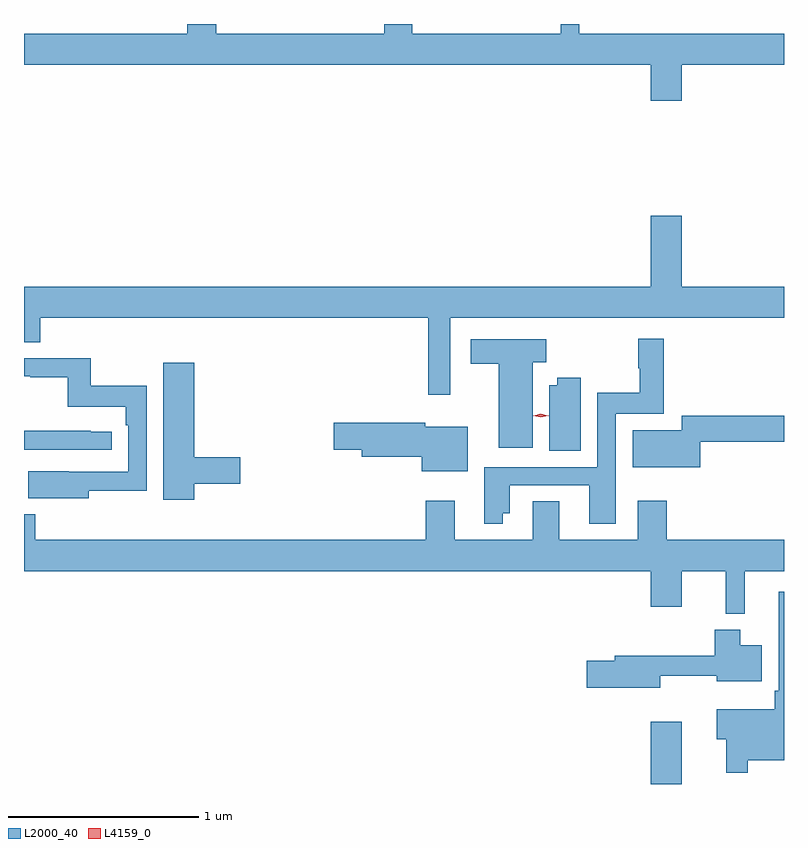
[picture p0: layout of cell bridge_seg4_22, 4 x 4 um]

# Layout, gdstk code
import gdstk
lib = gdstk.Library(unit=1e-6, precision=1e-09)
def R(c, l, rs):  # rectangles x0, y0, x1, y1
    for r in rs: c.add(gdstk.rectangle(r[:2], r[2:], *l))
def P(c, l, *ps):  # polygons
    for p in ps: c.add(gdstk.Polygon(p, *l))
L2000_40 = (2000, 40)
L4159_0 = (4159, 0)

bridge_seg4_22 = lib.new_cell('bridge_seg4_22')
R(bridge_seg4_22, L2000_40, [(1076.096,773.055,1076.26,773.383)])
P(bridge_seg4_22, L2000_40, [(1076.26,776.84),(1076.797,776.84),(1076.797,777.004),(1075.719,777.004),(1075.719,777.055),(1075.622,777.055),(1075.622,777.004),(1074.841,777.004),(1074.841,777.055),(1074.694,777.055),(1074.694,777.004),(1073.809,777.004),(1073.809,777.055),(1073.657,777.055),(1073.657,777.004),(1072.797,777.004),(1072.797,776.84),(1076.096,776.84),(1076.096,776.652),(1076.26,776.652)],
  [(1075.041,775.508),(1076.797,775.508),(1076.797,775.672),(1076.26,775.672),(1076.26,776.047),(1076.096,776.047),(1076.096,775.672),(1072.797,775.672),(1072.797,775.381),(1072.883,775.381),(1072.883,775.508),(1074.925,775.508),(1074.925,775.104),(1075.041,775.104)],
  [(1075.318,774.479),(1075.354,774.479),(1075.354,774.627),(1075.772,774.627),(1075.772,774.426),(1075.911,774.426),(1075.911,775.005),(1076.165,775.005),(1076.165,775.399),(1076.029,775.399),(1076.029,775.242),(1076.037,775.242),(1076.037,775.114),(1075.815,775.114),(1075.815,774.723),(1075.22,774.723),(1075.22,774.426),(1075.318,774.426)],
  [(1075.474,775.274),(1075.546,775.274),(1075.546,775.396),(1075.149,775.396),(1075.149,775.267),(1075.295,775.267),(1075.295,774.824),(1075.474,774.824)],
  [(1073.137,774.598),(1073.442,774.598),(1073.442,775.15),(1073.149,775.15),(1073.149,775.296),(1072.797,775.296),(1072.797,775.2),(1072.831,775.2),(1072.831,775.195),(1073.028,775.195),(1073.028,775.04),(1073.333,775.04),(1073.333,774.944),(1073.346,774.944),(1073.346,774.699),(1073.033,774.699),(1073.033,774.7),(1072.819,774.7),(1072.819,774.56),(1073.137,774.56)],
  [(1073.692,774.634),(1073.935,774.634),(1073.935,774.776),(1073.692,774.776),(1073.692,775.273),(1073.531,775.273),(1073.531,774.552),(1073.692,774.552)],
  [(1075.726,775.192),(1075.604,775.192),(1075.604,775.153),(1075.562,775.153),(1075.562,774.808),(1075.726,774.808)],
  [(1076.355,774.856),(1076.797,774.856),(1076.797,774.992),(1076.259,774.992),(1076.259,774.916),(1076,774.916),(1076,774.722),(1076.355,774.722)],
  [(1075.132,774.934),(1074.91,774.934),(1074.91,774.956),(1074.426,774.956),(1074.426,774.814),(1074.575,774.814),(1074.575,774.778),(1074.89,774.778),(1074.89,774.701),(1075.132,774.701)],
  [(1073.26,774.909),(1073.147,774.909),(1073.147,774.914),(1072.797,774.914),(1072.797,774.813),(1073.26,774.813)],
  [(1076.591,774.176),(1076.797,774.176),(1076.797,774.34),(1076.18,774.34),(1076.18,774.547),(1076.027,774.547),(1076.027,774.34),(1075.615,774.34),(1075.615,774.542),(1075.475,774.542),(1075.475,774.34),(1075.063,774.34),(1075.063,774.547),(1074.911,774.547),(1074.911,774.34),(1072.856,774.34),(1072.856,774.475),(1072.797,774.475),(1072.797,774.176),(1076.096,774.176),(1076.096,773.988),(1076.26,773.988),(1076.26,774.176),(1076.491,774.176),(1076.491,773.951),(1076.591,773.951)],
  [(1076.605,773.18),(1076.797,773.18),(1076.797,774.067),(1076.769,774.067),(1076.769,773.545),(1076.749,773.545),(1076.749,773.449),(1076.442,773.449),(1076.442,773.291),(1076.494,773.291),(1076.494,773.115),(1076.605,773.115)],
  [(1076.146,773.626),(1076.444,773.626),(1076.444,773.597),(1076.68,773.597),(1076.68,773.785),(1076.566,773.785),(1076.566,773.866),(1076.432,773.866),(1076.432,773.729),(1075.907,773.729),(1075.907,773.703),(1075.758,773.703),(1075.758,773.561),(1076.146,773.561)])
P(bridge_seg4_22, L4159_0, [(1075.518,774.984),(1075.478,774.993),(1075.478,774.994),(1075.478,774.994),(1075.518,775.004),(1075.557,774.994),(1075.558,774.994),(1075.557,774.993)])

lib.write_gds('bridge_seg4_22.gds')
